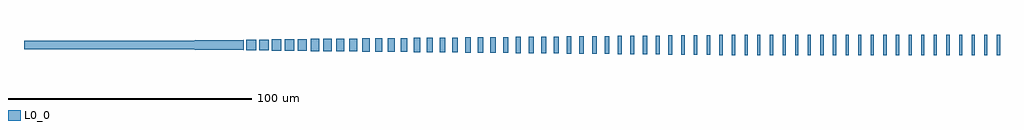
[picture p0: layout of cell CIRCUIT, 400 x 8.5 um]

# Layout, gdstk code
import gdstk
lib = gdstk.Library(unit=1e-6, precision=1e-09)
def R(c, l, rs):  # rectangles x0, y0, x1, y1
    for r in rs: c.add(gdstk.rectangle(r[:2], r[2:], *l))
def A(c, l, x, y, w, h, nx, ny, dx, dy):  # array of equal rectangles
    R(c, l, [(x+i*dx, y+j*dy, x+i*dx+w, y+j*dy+h) for i in range(nx) for j in range(ny)])
def P(c, l, *ps):  # polygons
    for p in ps: c.add(gdstk.Polygon(p, *l))
L0_0 = (0, 0)

circuit = lib.new_cell('CIRCUIT')
A(circuit, L0_0, 100.543, 195.751, 1.291, 8.499, 7, 1, 15.5, 0)
R(circuit, L0_0, [(105.709,195.751,107.001,204.25), (110.876,195.751,112.168,204.25), (121.209,195.751,122.501,204.25), (126.376,195.751,127.668,204.25), (136.709,195.751,138.001,204.25), (141.876,195.751,143.168,204.25), (152.209,195.751,153.501,204.25), (157.376,195.751,158.668,204.25), (167.709,195.751,169.001,204.25), (172.876,195.751,174.168,204.25), (183.209,195.751,184.501,204.25), (188.376,195.751,189.668,204.25), (198.709,195.751,200.001,204.25), (95.348,195.784,96.668,204.217), (90.139,195.836,91.501,204.165), (84.93,195.887,86.334,204.114), (79.72,195.94,81.168,204.061), (74.511,195.991,76.001,204.01), (69.302,196.042,70.834,203.959), (64.092,196.094,65.668,203.907), (58.883,196.146,60.501,203.855), (53.673,196.197,55.334,203.804), (48.464,196.249,50.168,203.752), (43.255,196.301,45.001,203.7), (38.045,196.352,39.834,203.649), (32.836,196.404,34.668,203.597), (27.627,196.456,29.501,203.545), (22.417,196.507,24.334,203.494), (17.208,196.559,19.168,203.442), (11.998,196.611,14.001,203.39), (6.789,196.662,8.834,203.339), (1.58,196.714,3.668,203.287), (-3.631,196.766,-1.5,203.235), (-8.84,196.817,-6.667,203.184), (-14.049,196.869,-11.833,203.132), (-19.259,196.921,-17,203.08), (-24.468,196.972,-22.167,203.029), (-29.711,197.024,-27.333,202.977), (-34.994,197.076,-32.5,202.925), (-40.277,197.127,-37.667,202.874), (-45.559,197.179,-42.833,202.822), (-50.842,197.231,-48,202.77), (-56.125,197.282,-53.167,202.719), (-61.408,197.334,-58.333,202.667), (-66.691,197.386,-63.5,202.615), (-71.974,197.437,-68.667,202.564), (-77.257,197.489,-73.833,202.512), (-82.539,197.541,-79,202.46), (-87.822,197.592,-84.167,202.409), (-93.105,197.644,-89.333,202.357), (-98.388,197.696,-94.5,202.305), (-103.671,197.747,-99.667,202.254), (-108.954,197.799,-104.833,202.202), (-200,198.251,-150,201.75)])
P(circuit, L0_0, [(-110,197.851),(-150,198.251),(-150,201.75),(-110,202.15)])

lib.write_gds('CIRCUIT.gds')
